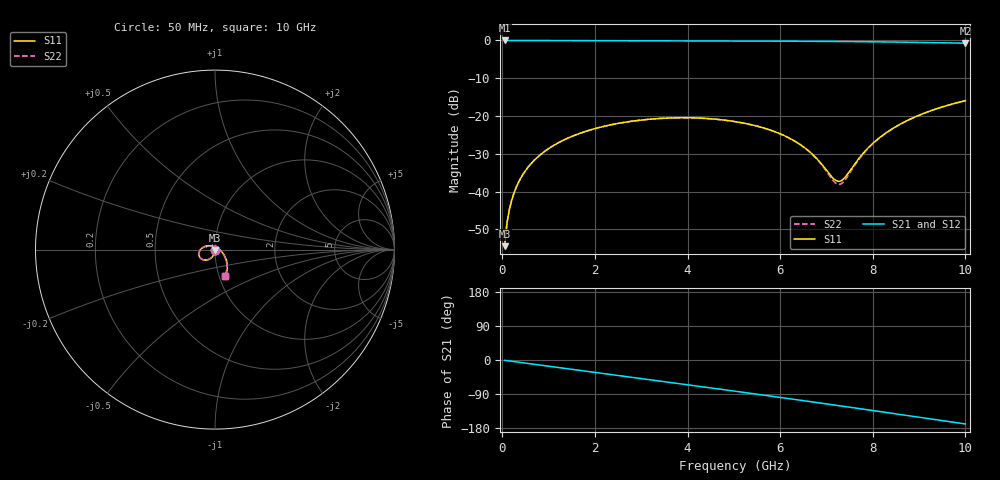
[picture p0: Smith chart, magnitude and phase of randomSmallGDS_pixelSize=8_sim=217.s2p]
! freq	dB(S11)	phase(S11)	dB(S12)	phase(S12)
!  dB(S21)	phase(S21)	dB(S22)	phase(S22)
!S-par simulation data
#  GHz  S  DB  R 50
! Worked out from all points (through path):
!   200 points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, 50 MHz to 10 GHz, reference 50 ohm
!   highest |S21| = 0.00 dB at 50 MHz (marker M1); lowest = -0.7 dB at 10 GHz (marker M2)
!   group delay of S21, straight-line fit = 46.7 ps
!   lowest |S11| = -54.4 dB at 50 MHz (marker M3), VSWR 1.00, Z = 50 - j0.19 ohm
!   |S11| at or under -10 dB: start of sweep to end of sweep
!   |S22| runs from -54.4 to -16.0 dB; largest |S21 - S12| = 0
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0.05  -54.44 -90.4  -0.00 -0.8  -0.00 -0.8  -54.44 -90.4
0.1  -48.42 -91.6  -0.00 -1.7  -0.00 -1.7  -48.42 -91.6
0.15  -44.90 -92.6  -0.01 -2.5  -0.01 -2.5  -44.90 -92.6
0.2  -42.40 -93.5  -0.01 -3.3  -0.01 -3.3  -42.40 -93.5
0.35  -37.55 -96.3  -0.01 -5.8  -0.01 -5.8  -37.55 -96.3
0.5  -34.47 -98.9  -0.01 -8.2  -0.01 -8.2  -34.47 -98.9
0.7  -31.60 -102.3  -0.02 -11.5  -0.02 -11.5  -31.60 -102.3
1  -28.62 -107.4  -0.02 -16.4  -0.02 -16.4  -28.62 -107.4
1.75  -24.27 -120.0  -0.05 -28.6  -0.05 -28.6  -24.27 -119.9
2.5  -21.96 -132.5  -0.07 -40.8  -0.07 -40.8  -21.96 -132.4
3.4  -20.65 -147.7  -0.10 -55.5  -0.10 -55.5  -20.65 -147.5
4.25  -20.55 -162.5  -0.13 -69.5  -0.13 -69.5  -20.55 -162.2
5.05  -21.52 -177.3  -0.15 -82.7  -0.15 -82.7  -21.52 -176.9
6  -24.71 162.1  -0.19 -98.7  -0.19 -98.7  -24.72 163.0
6.4  -27.27 150.4  -0.21 -105.5  -0.21 -105.5  -27.31 151.7
6.7  -30.15 137.6  -0.23 -110.7  -0.23 -110.7  -30.25 139.5
7.15  -36.55 89.5  -0.26 -118.4  -0.26 -118.4  -37.17 92.0
7.3  -37.24 55.4  -0.28 -121.0  -0.28 -121.0  -38.06 55.3
7.85  -29.06 -13.7  -0.33 -130.7  -0.33 -130.7  -29.23 -15.8
8.35  -23.93 -32.9  -0.40 -139.5  -0.40 -139.5  -23.99 -34.3
9.05  -19.53 -50.2  -0.52 -151.9  -0.52 -151.9  -19.57 -51.1
10  -15.94 -69.2  -0.73 -168.8  -0.73 -168.8  -15.96 -70.0
